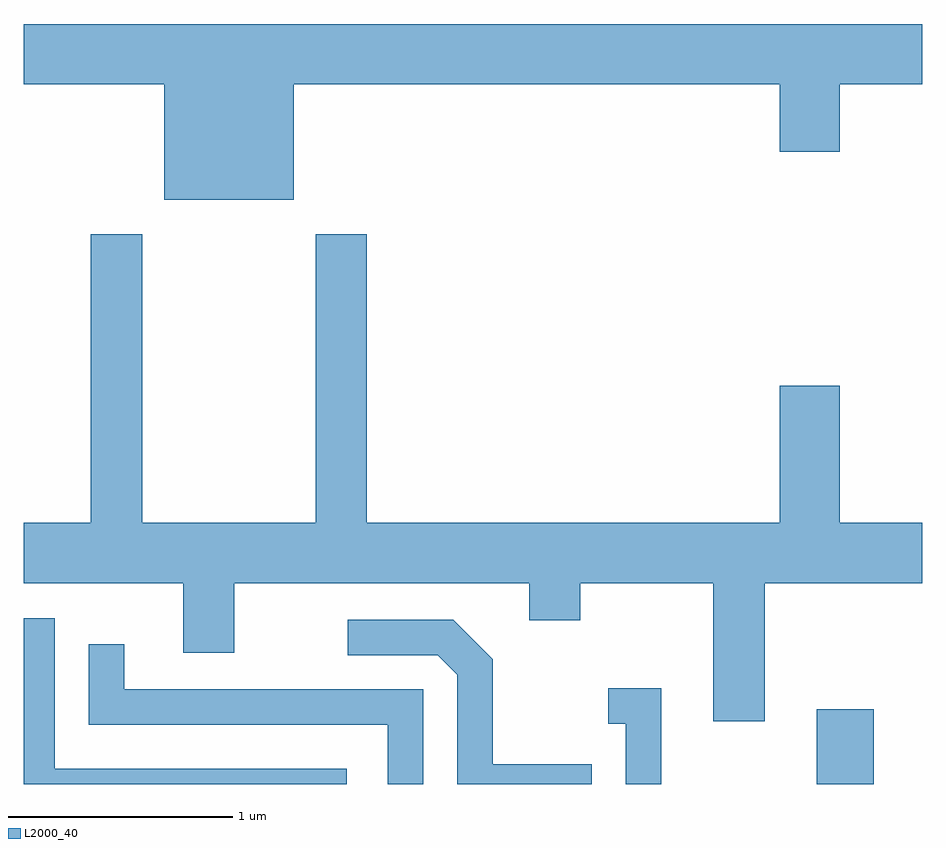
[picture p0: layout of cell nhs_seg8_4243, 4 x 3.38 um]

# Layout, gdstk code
import gdstk
lib = gdstk.Library(unit=1e-6, precision=1e-09)
def R(c, l, rs):  # rectangles x0, y0, x1, y1
    for r in rs: c.add(gdstk.rectangle(r[:2], r[2:], *l))
def P(c, l, *ps):  # polygons
    for p in ps: c.add(gdstk.Polygon(p, *l))
L2000_40 = (2000, 40)

nhs_seg8_4243 = lib.new_cell('nhs_seg8_4243')
R(nhs_seg8_4243, L2000_40, [(315.141,1904.342,315.394,1904.674)])
P(nhs_seg8_4243, L2000_40, [(312.814,1907.456),(314.976,1907.456),(314.976,1907.156),(315.244,1907.156),(315.244,1907.456),(315.611,1907.456),(315.611,1907.724),(311.611,1907.724),(311.611,1907.456),(312.236,1907.456),(312.236,1906.941),(312.814,1906.941)],
  [(314.909,1905.236),(315.611,1905.236),(315.611,1905.504),(315.244,1905.504),(315.244,1906.114),(314.976,1906.114),(314.976,1905.504),(313.139,1905.504),(313.139,1906.789),(312.911,1906.789),(312.911,1905.504),(312.139,1905.504),(312.139,1906.789),(311.911,1906.789),(311.911,1905.504),(311.611,1905.504),(311.611,1905.236),(312.321,1905.236),(312.321,1904.926),(312.549,1904.926),(312.549,1905.236),(313.861,1905.236),(313.861,1905.071),(314.089,1905.071),(314.089,1905.236),(314.681,1905.236),(314.681,1904.621),(314.909,1904.621)],
  [(313.049,1904.409),(311.749,1904.409),(311.749,1905.079),(311.611,1905.079),(311.611,1904.342),(313.049,1904.342)],
  [(314.139,1904.429),(313.699,1904.429),(313.699,1904.897),(313.522,1905.074),(313.053,1905.074),(313.053,1904.916),(313.454,1904.916),(313.541,1904.829),(313.541,1904.342),(314.139,1904.342)],
  [(313.389,1904.764),(312.059,1904.764),(312.059,1904.963),(311.901,1904.963),(311.901,1904.606),(313.231,1904.606),(313.231,1904.342),(313.389,1904.342)],
  [(314.449,1904.769),(314.213,1904.769),(314.213,1904.611),(314.291,1904.611),(314.291,1904.342),(314.449,1904.342)])

lib.write_gds('nhs_seg8_4243.gds')
